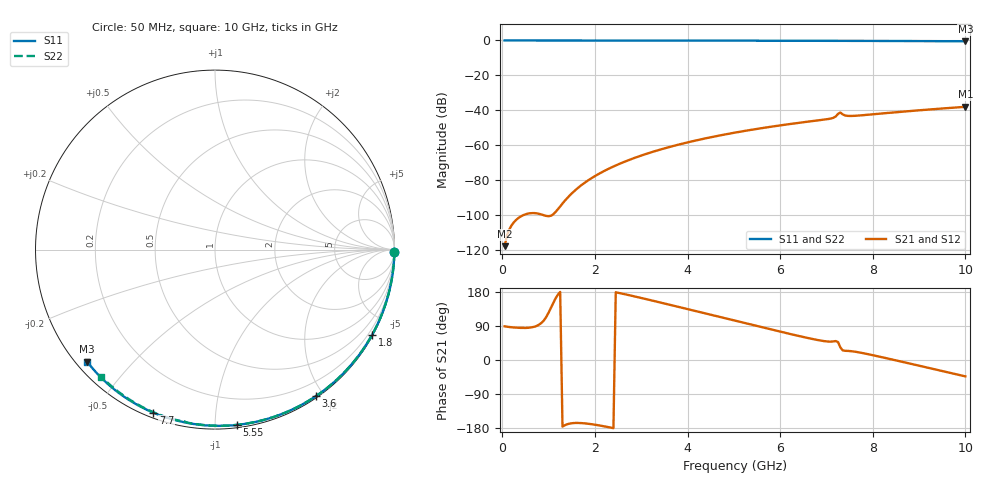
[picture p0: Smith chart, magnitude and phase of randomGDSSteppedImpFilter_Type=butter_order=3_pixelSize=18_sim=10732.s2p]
! freq	dB(S11)	phase(S11)	dB(S12)	phase(S12)
!  dB(S21)	phase(S21)	dB(S22)	phase(S22)
!S-par simulation data
#  GHz  S  DB  R 50
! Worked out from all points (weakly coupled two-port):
!   200 points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, 50 MHz to 10 GHz, reference 50 ohm
!   highest |S21| = -37.98 dB at 10 GHz (marker M1); lowest = -117.7 dB at 50 MHz (marker M2)
!   lowest |S11| = -0.5 dB at 10 GHz (marker M3), VSWR 37.08, Z = 1.54 - j18.8 ohm
!   |S11| at or under -10 dB: nowhere
!   |S22| runs from -0.4 to 0.0 dB; largest |S21 - S12| = 0
!   S11 on the Smith chart (normalised r, x): 50 MHz: open; 1.8 GHz: 0.03, -3.94; 3.6 GHz: 0.02, -1.90; 5.55 GHz: 0.02, -1.13; 7.7 GHz: 0.02, -0.69; 10 GHz: 0.03, -0.38
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0.05  -0.01 -0.8  -117.73 88.8  -117.73 88.8  -0.01 -0.8
0.9  -0.02 -14.4  -100.06 104.5  -100.06 104.5  -0.02 -13.6
1.75  -0.04 -27.7  -81.99 -166.8  -81.99 -166.8  -0.03 -26.3
1.8  -0.04 -28.5  -81.03 -167.4  -81.03 -167.4  -0.03 -27.0
1.85  -0.04 -29.2  -80.13 -168.1  -80.13 -168.1  -0.04 -27.8
2.15  -0.04 -33.8  -75.39 -173.9  -75.39 -173.9  -0.04 -32.2
2.55  -0.05 -39.9  -70.38 176.2  -70.38 176.2  -0.05 -38.0
2.95  -0.06 -46.0  -66.33 165.1  -66.33 165.1  -0.06 -43.7
3.4  -0.07 -52.6  -62.53 152.1  -62.53 152.1  -0.07 -50.1
3.6  -0.07 -55.6  -61.04 146.2  -61.04 146.2  -0.07 -52.8
4.3  -0.09 -65.6  -56.53 125.3  -56.53 125.3  -0.09 -62.5
5.05  -0.12 -76.1  -52.62 102.9  -52.62 102.9  -0.11 -72.4
5.55  -0.14 -82.9  -50.40 88.0  -50.40 88.0  -0.13 -78.9
6.7  -0.19 -98.0  -46.15 55.4  -46.15 55.4  -0.18 -93.4
7.15  -0.22 -103.8  -44.27 49.0  -44.27 49.0  -0.21 -98.9
7.2  -0.23 -104.4  -43.50 50.0  -43.50 50.0  -0.22 -99.6
7.3  -0.23 -105.6  -41.24 33.3  -41.24 33.3  -0.27 -100.6
7.4  -0.23 -106.9  -42.93 24.3  -42.93 24.3  -0.24 -101.7
7.45  -0.23 -107.5  -43.15 24.1  -43.15 24.1  -0.23 -102.3
7.7  -0.25 -110.7  -42.97 20.2  -42.97 20.2  -0.24 -105.3
8.35  -0.30 -118.7  -41.44 3.2  -41.44 3.2  -0.29 -113.0
10  -0.47 -138.7  -37.98 -43.3  -37.98 -43.3  -0.45 -131.8
